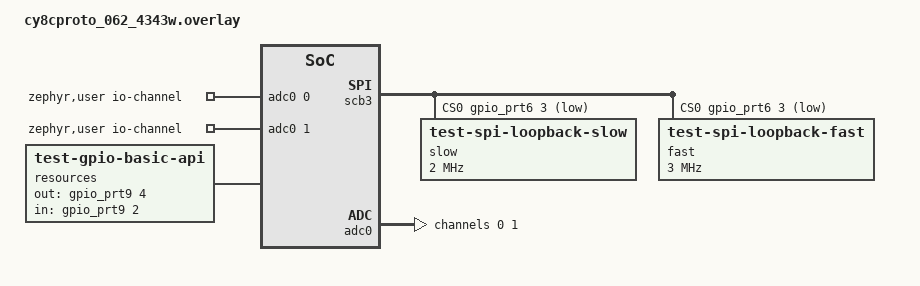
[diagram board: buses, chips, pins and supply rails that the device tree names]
/*
 * SPDX-License-Identifier: Apache-2.0
 */

tst_dma0: &dma0 {
	status = "okay";
};

tst_dma1: &dma1 {
	status = "okay";
};

spi1: &scb3 {
	compatible = "infineon,spi";
	status = "okay";
	pinctrl-0 = <&p6_0_scb3_spi_m_mosi &p6_1_scb3_spi_m_miso &p6_2_scb3_spi_m_clk>;
	pinctrl-names = "default";
	cs-gpios = <&gpio_prt6 3 GPIO_ACTIVE_LOW>;
	slow@0 {
		compatible = "test-spi-loopback-slow";
		reg = <0>;
		spi-max-frequency = <2000000>;
	};
	fast@0 {
		compatible = "test-spi-loopback-fast";
		reg = <0>;
		spi-max-frequency = <3000000>;
	};
};

&gpio_prt6 {
	status = "okay";
};

&pinctrl {
	p6_0_scb3_spi_m_mosi: p6_0_scb3_spi_m_mosi {
		pinmux = <DT_CAT1_PINMUX(6, 0, HSIOM_SEL_ACT_8)>;
		drive-push-pull;
	};
	p6_1_scb3_spi_m_miso: p6_1_scb3_spi_m_miso {
		pinmux = <DT_CAT1_PINMUX(6, 1, HSIOM_SEL_ACT_8)>;
		input-enable;
	};
	p6_2_scb3_spi_m_clk: p6_2_scb3_spi_m_clk {
		pinmux = <DT_CAT1_PINMUX(6, 2, HSIOM_SEL_ACT_8)>;
		drive-push-pull;
	};
};

#include <zephyr/dt-bindings/adc/adc.h>

/ {
	zephyr,user {
		io-channels = <&adc0 0>, <&adc0 1>;
	};
};

&adc0 {
	status = "okay";
	#address-cells = <1>;
	#size-cells = <0>;
	channel@0 {
		reg = <0>;
		zephyr,acquisition-time = <ADC_ACQ_TIME(ADC_ACQ_TIME_MICROSECONDS, 1)>;
		zephyr,gain = "ADC_GAIN_1";
		zephyr,reference = "ADC_REF_INTERNAL";
		zephyr,resolution = <12>;
		zephyr,input-positive = <0>;
	};
	channel@1 {
		reg = <1>;
		zephyr,acquisition-time = <ADC_ACQ_TIME(ADC_ACQ_TIME_MICROSECONDS, 1)>;
		zephyr,gain = "ADC_GAIN_1";
		zephyr,reference = "ADC_REF_INTERNAL";
		zephyr,resolution = <12>;
		zephyr,input-positive = <1>;
	};
};

/ {
	resources {
		compatible = "test-gpio-basic-api";
		out-gpios = <&gpio_prt9 4 0>;
		in-gpios = <&gpio_prt9 2 0>;
	};
};

&gpio_prt9 {
	status = "okay";
};
